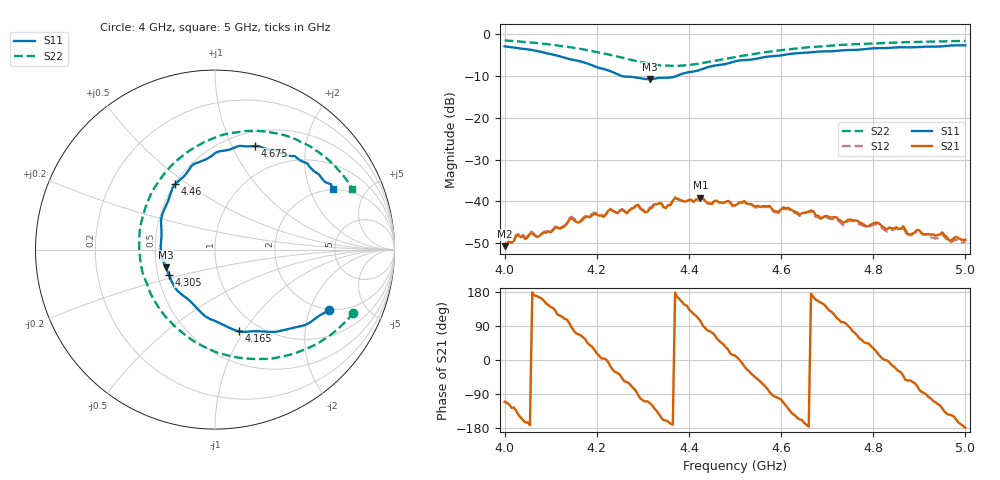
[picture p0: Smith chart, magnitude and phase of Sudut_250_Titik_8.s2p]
# Hz S RI R 50
! CMT, C1220, 16058040, 17.2.0/1
! Date: 15/08/2018 11:43:46
! Data: Format (Calibration Info)
! Freq  S11: Re/Im (F2)  S21: Re/Im (F2)  S12: Re/Im (F2)  S22: Re/Im (F2)
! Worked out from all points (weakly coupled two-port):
!   201 points, 4 GHz to 5 GHz, reference 50 ohm
!   highest |S21| = -39.08 dB at 4.425 GHz (marker M1); lowest = -50.7 dB at 4 GHz (marker M2)
!   lowest |S11| = -10.7 dB at 4.315 GHz (marker M3), VSWR 1.82, Z = 28.1 - j6.08 ohm
!   |S11| at or under -10 dB: 4.256 GHz to 4.372 GHz (116 MHz wide, 2.69 % of centre)
!   |S22| runs from -7.5 to -1.4 dB; largest |S21 - S12| = 0.00041
!   S11 on the Smith chart (normalised r, x): 4 GHz: 1.97, -2.75; 4.165 GHz: 0.81, -0.95; 4.305 GHz: 0.57, -0.17; 4.46 GHz: 0.50, +0.45; 4.675 GHz: 0.66, +1.23; 5 GHz: 1.95, +2.92
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4e9  0.6377 -0.3354  -0.000996 -0.00273  -0.000982 -0.00283  0.7714 -0.3512
4.025e9  0.5843 -0.3663  -0.00267 -0.00279  -0.00264 -0.00295  0.7238 -0.4052
4.12e9  0.2988 -0.4584  -0.00215 0.00419  -0.00231 0.00424  0.4552 -0.5738
4.145e9  0.2087 -0.4548  0.000323 0.00632  0.000113 0.00655  0.3616 -0.5977
4.165e9  0.1338 -0.4556  0.00239 0.00519  0.00238 0.00539  0.2828 -0.6088
4.17e9  0.118 -0.451  0.00305 0.0053  0.00299 0.00556  0.2625 -0.6094
4.23e9  -0.0732 -0.3548  0.00762 -0.00248  0.00777 -0.00248  -0.00101 -0.5687
4.265e9  -0.1753 -0.2581  0.00382 -0.00608  0.0039 -0.00617  -0.1479 -0.489
4.29e9  -0.2343 -0.1902  -0.000515 -0.00908  -0.000478 -0.0093  -0.2442 -0.4066
4.305e9  -0.258 -0.1388  -0.00246 -0.00697  -0.00247 -0.00717  -0.2931 -0.3518
4.315e9  -0.2735 -0.0992  -0.00331 -0.00743  -0.00348 -0.00765  -0.3225 -0.3089
4.335e9  -0.2997 -0.0315  -0.00753 -0.00572  -0.00774 -0.00568  -0.3703 -0.2167
4.35e9  -0.3025 0.0179  -0.00779 -0.00293  -0.00785 -0.00292  -0.3984 -0.1453
4.37e9  -0.2977 0.0967  -0.0111 0.000462  -0.0111 0.000648  -0.4179 -0.0459
4.425e9  -0.2602 0.2736  -0.00243 0.0109  -0.00217 0.0108  -0.3923 0.2202
4.46e9  -0.2216 0.3648  0.00541 0.00862  0.00555 0.00845  -0.3255 0.3619
4.5e9  -0.1377 0.4558  0.00879 0.0018  0.00874 0.00177  -0.2237 0.4864
4.585e9  0.0385 0.5499  -0.000792 -0.00761  -0.000832 -0.0074  0.0249 0.6339
4.67e9  0.2159 0.5767  -0.00738 0.00184  -0.00701 0.00195  0.2593 0.659
4.675e9  0.2238 0.5775  -0.00638 0.0024  -0.00605 0.00242  0.2717 0.6587
4.835e9  0.4837 0.4922  0.00483 -0.000541  0.0045 -0.000463  0.5862 0.5362
5e9  0.6571 0.3384  -0.00346 -7.1e-05  -0.00326 -0.000263  0.766 0.3377
